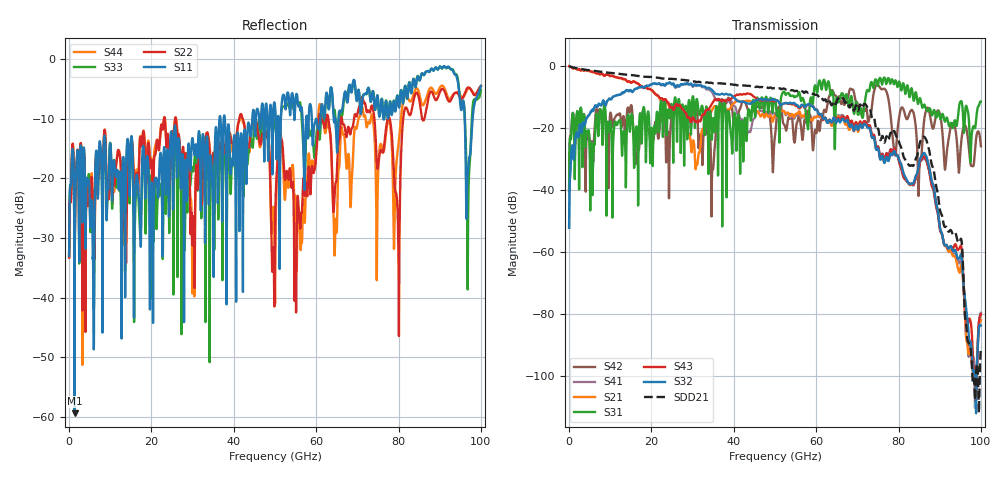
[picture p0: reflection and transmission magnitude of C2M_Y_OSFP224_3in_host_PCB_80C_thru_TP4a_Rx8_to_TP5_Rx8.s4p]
# GHz S RI R 45
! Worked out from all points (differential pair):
!   4000 points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, 25 MHz to 100 GHz, reference 45 ohm
!   strongest paths, dB at 25 MHz, 25.02 GHz, 50.02 GHz, 75.03 GHz, 100 GHz:
!     S32: -52.2, -5.9, -11.1, -26.6, -83.7
!     S43: -0.2, -13.3, -11.4, -26.1, -79.9
!     S31: -40.1, -13.3, -10.9, -6.3, -11.5
!     S21: -0.2, -14.5, -16.0, -26.4, -81.9
!     S41: -52.2, -6.1, -15.5, -25.9, -79.6
!     S42: -40.1, -16.2, -22.5, -6.3, -26.0
!   taken as a pair (ports 3,1 in; 4,2 out), SDD21 dB: -0.2, -4.3, -7.2, -20.2, -90.6
!   lowest |S11| = -59.4 dB at 1.35 GHz (marker M1), VSWR 1.00, Z = 44.9 - j0.0541 ohm
!   |S11| at or under -10 dB: start of sweep to 36.53 GHz; 37.83 GHz to 44.49 GHz (6.656 GHz wide, 16.2 % of centre); 96.08 GHz to 98 GHz (1.925 GHz wide, 1.98 % of centre) (the widest 3 of 19)
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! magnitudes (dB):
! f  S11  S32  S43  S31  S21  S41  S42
! 25 MHz  -33.0  -52.2  -0.2  -40.1  -0.2  -52.2  -40.1
! 1.35 GHz  -59.4  -26.5  -0.7  -29.9  -0.7  -26.5  -27.0
! 31 GHz  -15.6  -6.3  -18.0  -10.7  -31.6  -6.5  -12.9
! 71.92 GHz  -5.8  -18.8  -18.0  -11.1  -18.7  -17.9  -14.5
! 79.88 GHz  -6.7  -29.2  -29.4  -6.4  -29.2  -29.4  -19.3
! 86.5 GHz  -2.3  -28.6  -29.8  -13.3  -28.9  -30.2  -15.4
! 100 GHz  -4.5  -83.7  -79.9  -11.5  -81.9  -79.6  -26.0
